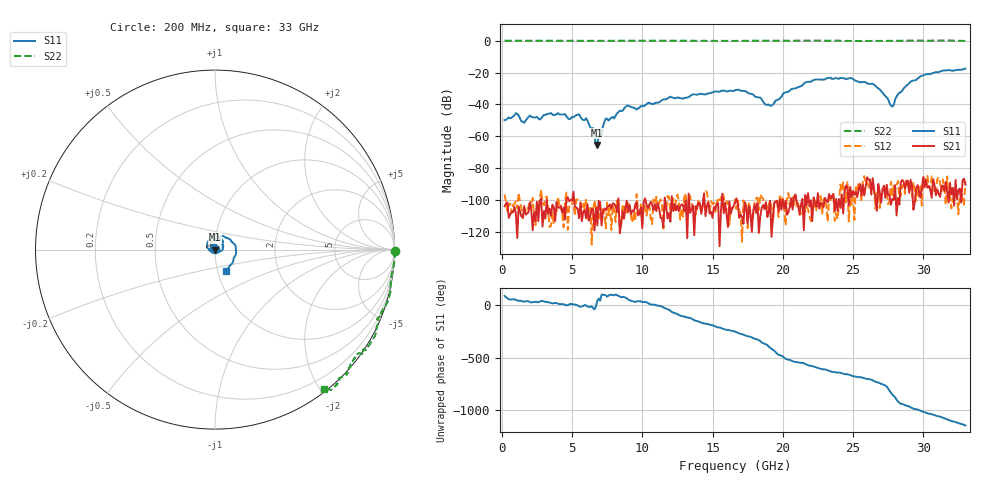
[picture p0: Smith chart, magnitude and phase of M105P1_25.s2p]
# GHZ S RI R 50
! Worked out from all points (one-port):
!   329 points, 200 MHz to 33 GHz, reference 50 ohm
!   lowest |S11| = -65.4 dB at 6.8 GHz (marker M1), VSWR 1.00, Z = 50 + j0.0334 ohm
!   |S11| at or under -10 dB: start of sweep to end of sweep
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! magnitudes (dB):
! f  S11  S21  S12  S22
! 200 MHz  -49.8  -103.9  -96.5  0.0
! 1 GHz  -45.5  -108.4  -100.8  0.0
! 1.6 GHz  -51.5  -103.7  -105.5  0.0
! 2 GHz  -46.9  -101.4  -100.5  0.0
! 3.5 GHz  -45.4  -110.0  -116.3  0.0
! 5.7 GHz  -49.1  -113.3  -104.5  -0.1
! 6.5 GHz  -54.8  -106.0  -106.2  0.0
! 6.8 GHz  -65.4  -116.0  -104.2  -0.1
! 6.9 GHz  -59.3  -100.5  -111.6  -0.1
! 7.1 GHz  -59.4  -116.0  -106.0  -0.1
! 7.4 GHz  -48.9  -106.4  -117.8  -0.1
! 8.9 GHz  -40.8  -100.4  -109.1  0.0
! 11.2 GHz  -38.6  -105.2  -101.9  0.0
! 16.6 GHz  -31.1  -102.0  -99.8  -0.1
! 19.1 GHz  -40.9  -100.5  -100.7  0.0
! 22.1 GHz  -25.1  -113.2  -106.2  0.1
! 26.4 GHz  -27.1  -86.2  -92.3  -0.1
! 27.6 GHz  -39.1  -97.1  -100.6  -0.1
! 27.8 GHz  -41.3  -99.3  -97.0  -0.1
! 28.3 GHz  -32.7  -102.9  -98.9  0.0
! 29.9 GHz  -21.9  -92.9  -103.5  0.0
! 33 GHz  -17.5  -90.4  -88.4  -0.1
